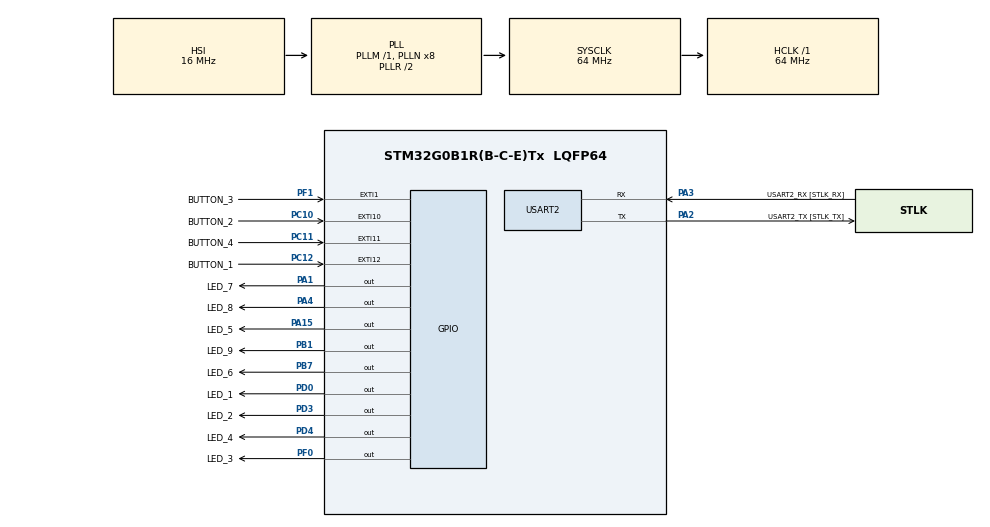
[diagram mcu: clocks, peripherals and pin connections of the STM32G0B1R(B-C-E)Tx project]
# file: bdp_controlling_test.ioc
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Mcu.Family=STM32G0
Mcu.Name=STM32G0B1R(B-C-E)Tx
Mcu.Package=LQFP64
NVIC.EXTI0_1_IRQn=true\:0\:0\:false\:false\:true\:true\:true\:true
NVIC.EXTI4_15_IRQn=true\:0\:0\:false\:false\:true\:true\:true\:true
NVIC.TIM2_IRQn=true\:0\:0\:false\:false\:true\:true\:true\:true
PA1.GPIO_Label=LED_7
PA1.Signal=GPIO_Output
PA13.Mode=Serial_Wire
PA13.Signal=SYS_SWDIO
PA14-BOOT0.Mode=Serial_Wire
PA14-BOOT0.Signal=SYS_SWCLK
PA15.GPIO_Label=LED_5
PA15.Signal=GPIO_Output
PA2.GPIO_Label=USART2_TX [STLK_TX]
PA2.Mode=Asynchronous
PA2.Signal=USART2_TX
PA3.GPIO_Label=USART2_RX [STLK_RX]
PA3.Mode=Asynchronous
PA3.Signal=USART2_RX
PA4.GPIO_Label=LED_8
PA4.Signal=GPIO_Output
PB1.GPIO_Label=LED_9
PB1.Signal=GPIO_Output
PB7.GPIO_Label=LED_6
PB7.Signal=GPIO_Output
PC10.GPIO_Label=BUTTON_2
PC10.GPIO_ModeDefaultEXTI=GPIO_MODE_IT_FALLING
PC10.Signal=GPXTI10
PC11.GPIO_Label=BUTTON_4
PC11.GPIO_ModeDefaultEXTI=GPIO_MODE_IT_FALLING
PC11.Signal=GPXTI11
PC12.GPIO_Label=BUTTON_1
PC12.GPIO_ModeDefaultEXTI=GPIO_MODE_IT_FALLING
PC12.Signal=GPXTI12
PD0.GPIO_Label=LED_1
PD0.Signal=GPIO_Output
PD3.GPIO_Label=LED_2
PD3.Signal=GPIO_Output
PD4.GPIO_Label=LED_4
PD4.Signal=GPIO_Output
PF0-OSC_IN\ (PF0).GPIO_Label=LED_3
PF0-OSC_IN\ (PF0).Signal=GPIO_Output
PF1-OSC_OUT\ (PF1).GPIO_Label=BUTTON_3
PF1-OSC_OUT\ (PF1).GPIO_ModeDefaultEXTI=GPIO_MODE_IT_FALLING
PF1-OSC_OUT\ (PF1).Signal=GPXTI1
ProjectManager.HeapSize=0x200
ProjectManager.StackSize=0x400
ProjectManager.TargetToolchain=STM32CubeIDE
RCC.ADCFreq_Value=64000000
RCC.AHBFreq_Value=64000000
RCC.CortexFreq_Value=64000000
RCC.EXTERNAL_CLOCK_VALUE=12288000
RCC.HCLKFreq_Value=64000000
RCC.HSE_VALUE=8000000
RCC.HSI48_VALUE=48000000
RCC.HSI_VALUE=16000000
RCC.LSE_VALUE=32768
RCC.SYSCLKFreq_VALUE=64000000
RCC.SYSCLKSource=RCC_SYSCLKSOURCE_PLLCLK
RCC.USBFreq_Value=48000000
RCC.VCOOutputFreq_Value=128000000
TIM2.Period=16000 - 1
TIM2.Prescaler=1000 - 1
USART2.VirtualMode-Asynchronous=VM_ASYNC
VP_SYS_VS_DBSignals.Mode=DisableDeadBatterySignals
VP_TIM2_VS_ClockSourceINT.Mode=Internal
board=NUCLEO-G0B1RE

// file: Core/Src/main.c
/* USER CODE BEGIN Header */
/**
  ******************************************************************************
  * @file           : main.c
  * @brief          : Main program body
  ******************************************************************************
  * @attention
  *
  * Copyright (c) 2025 STMicroelectronics.
  * All rights reserved.
  *
  * This software is licensed under terms that can be found in the LICENSE file
  * in the root directory of this software component.
  * If no LICENSE file comes with this software, it is provided AS-IS.
  *
  ******************************************************************************
  */
/* USER CODE END Header */
#include "main.h"

/* USER CODE BEGIN Includes */
#include <stdbool.h>
#include <stdlib.h>
#include <stdio.h>
/* USER CODE END Includes */

/* USER CODE BEGIN PD */
#define DEBOUNCE_MS 80

#define NUM_CARDS 52
#define NUM_SUITS 4
#define CARDS_PER_SUIT 13
/* USER CODE END PD */

TIM_HandleTypeDef htim2;

UART_HandleTypeDef huart2;

/* USER CODE BEGIN PV */
//static uint32_t last_press_time1 = 0;
//static uint32_t last_press_time2 = 0;
//static uint32_t last_press_time3 = 0;
//static uint32_t last_press_time4 = 0;

volatile bool b1_pressed = false;
volatile bool b2_pressed = false;
volatile bool b3_pressed = false;
volatile bool b4_pressed = false;

volatile bool dealing = false;

uint8_t deck[NUM_CARDS];
uint8_t card_index = 0;
/* USER CODE END PV */

void SystemClock_Config(void);
static void MX_GPIO_Init(void);
static void MX_USART2_UART_Init(void);
static void MX_TIM2_Init(void);
/* USER CODE BEGIN PFP */
void event_turn_on();
void event_deal();
/* USER CODE END PFP */

int main(void)
{

  /* MCU Configuration--------------------------------------------------------*/

  /* Reset of all peripherals, Initializes the Flash interface and the Systick. */
  HAL_Init();

  /* Configure the system clock */
  SystemClock_Config();

  /* Initialize all configured peripherals */
  MX_GPIO_Init();
  MX_USART2_UART_Init();
  MX_TIM2_Init();
  /* USER CODE BEGIN 2 */
  while(!b1_pressed) {
  }
  srand(HAL_GetTick());
  /* USER CODE END 2 */

  /* Infinite loop */
  while (1)
  {

    /* USER CODE BEGIN 3 */
	  bool main1 = true;
	  if (b1_pressed == true) {
		  b1_pressed = false;
		  event_turn_on();
	  }
  }
  /* USER CODE END 3 */
}

void SystemClock_Config(void)
{
  RCC_OscInitTypeDef RCC_OscInitStruct = {0};
  RCC_ClkInitTypeDef RCC_ClkInitStruct = {0};

  /** Configure the main internal regulator output voltage
  */
  HAL_PWREx_ControlVoltageScaling(PWR_REGULATOR_VOLTAGE_SCALE1);

  /** Initializes the RCC Oscillators according to the specified parameters
  * in the RCC_OscInitTypeDef structure.
  */
  RCC_OscInitStruct.OscillatorType = RCC_OSCILLATORTYPE_HSI;
  RCC_OscInitStruct.HSIState = RCC_HSI_ON;
  RCC_OscInitStruct.HSIDiv = RCC_HSI_DIV1;
  RCC_OscInitStruct.HSICalibrationValue = RCC_HSICALIBRATION_DEFAULT;
  RCC_OscInitStruct.PLL.PLLState = RCC_PLL_ON;
  RCC_OscInitStruct.PLL.PLLSource = RCC_PLLSOURCE_HSI;
  RCC_OscInitStruct.PLL.PLLM = RCC_PLLM_DIV1;
  RCC_OscInitStruct.PLL.PLLN = 8;
  RCC_OscInitStruct.PLL.PLLP = RCC_PLLP_DIV2;
  RCC_OscInitStruct.PLL.PLLQ = RCC_PLLQ_DIV2;
  RCC_OscInitStruct.PLL.PLLR = RCC_PLLR_DIV2;
  if (HAL_RCC_OscConfig(&RCC_OscInitStruct) != HAL_OK)
  {
    Error_Handler();
  }

  /** Initializes the CPU, AHB and APB buses clocks
  */
  RCC_ClkInitStruct.ClockType = RCC_CLOCKTYPE_HCLK|RCC_CLOCKTYPE_SYSCLK
                              |RCC_CLOCKTYPE_PCLK1;
  RCC_ClkInitStruct.SYSCLKSource = RCC_SYSCLKSOURCE_PLLCLK;
  RCC_ClkInitStruct.AHBCLKDivider = RCC_SYSCLK_DIV1;
  RCC_ClkInitStruct.APB1CLKDivider = RCC_HCLK_DIV1;

  if (HAL_RCC_ClockConfig(&RCC_ClkInitStruct, FLASH_LATENCY_2) != HAL_OK)
  {
    Error_Handler();
  }
}

static void MX_TIM2_Init(void)
{

  TIM_ClockConfigTypeDef sClockSourceConfig = {0};
  TIM_MasterConfigTypeDef sMasterConfig = {0};

  htim2.Instance = TIM2;
  htim2.Init.Prescaler = 1000 - 1;
  htim2.Init.CounterMode = TIM_COUNTERMODE_UP;
  htim2.Init.Period = 16000 - 1;
  htim2.Init.ClockDivision = TIM_CLOCKDIVISION_DIV1;
  htim2.Init.AutoReloadPreload = TIM_AUTORELOAD_PRELOAD_DISABLE;
  if (HAL_TIM_Base_Init(&htim2) != HAL_OK)
  {
    Error_Handler();
  }
  sClockSourceConfig.ClockSource = TIM_CLOCKSOURCE_INTERNAL;
  if (HAL_TIM_ConfigClockSource(&htim2, &sClockSourceConfig) != HAL_OK)
  {
    Error_Handler();
  }
  sMasterConfig.MasterOutputTrigger = TIM_TRGO_RESET;
  sMasterConfig.MasterSlaveMode = TIM_MASTERSLAVEMODE_DISABLE;
  if (HAL_TIMEx_MasterConfigSynchronization(&htim2, &sMasterConfig) != HAL_OK)
  {
    Error_Handler();
  }

}

static void MX_USART2_UART_Init(void)
{

  huart2.Instance = USART2;
  huart2.Init.BaudRate = 115200;
  huart2.Init.WordLength = UART_WORDLENGTH_8B;
  huart2.Init.StopBits = UART_STOPBITS_1;
  huart2.Init.Parity = UART_PARITY_NONE;
  huart2.Init.Mode = UART_MODE_TX_RX;
  huart2.Init.HwFlowCtl = UART_HWCONTROL_NONE;
  huart2.Init.OverSampling = UART_OVERSAMPLING_16;
  huart2.Init.OneBitSampling = UART_ONE_BIT_SAMPLE_DISABLE;
  huart2.Init.ClockPrescaler = UART_PRESCALER_DIV1;
  huart2.AdvancedInit.AdvFeatureInit = UART_ADVFEATURE_NO_INIT;
  if (HAL_UART_Init(&huart2) != HAL_OK)
  {
    Error_Handler();
  }
  if (HAL_UARTEx_SetTxFifoThreshold(&huart2, UART_TXFIFO_THRESHOLD_1_8) != HAL_OK)
  {
    Error_Handler();
  }
  if (HAL_UARTEx_SetRxFifoThreshold(&huart2, UART_RXFIFO_THRESHOLD_1_8) != HAL_OK)
  {
    Error_Handler();
  }
  if (HAL_UARTEx_DisableFifoMode(&huart2) != HAL_OK)
  {
    Error_Handler();
  }

}

static void MX_GPIO_Init(void)
{
  GPIO_InitTypeDef GPIO_InitStruct = {0};

  /* GPIO Ports Clock Enable */
  __HAL_RCC_GPIOC_CLK_ENABLE();
  __HAL_RCC_GPIOF_CLK_ENABLE();
  __HAL_RCC_GPIOA_CLK_ENABLE();
  __HAL_RCC_GPIOB_CLK_ENABLE();
  __HAL_RCC_GPIOD_CLK_ENABLE();

  /*Configure GPIO pin Output Level */
  HAL_GPIO_WritePin(LED_3_GPIO_Port, LED_3_Pin, GPIO_PIN_RESET);

  /*Configure GPIO pin Output Level */
  HAL_GPIO_WritePin(GPIOA, LED_7_Pin|LED_8_Pin|LED_5_Pin, GPIO_PIN_RESET);

  /*Configure GPIO pin Output Level */
  HAL_GPIO_WritePin(GPIOB, LED_9_Pin|LED_6_Pin, GPIO_PIN_RESET);

  /*Configure GPIO pin Output Level */
  HAL_GPIO_WritePin(GPIOD, LED_1_Pin|LED_2_Pin|LED_4_Pin, GPIO_PIN_RESET);

  /*Configure GPIO pins : BUTTON_4_Pin BUTTON_1_Pin BUTTON_2_Pin */
  GPIO_InitStruct.Pin = BUTTON_4_Pin|BUTTON_1_Pin|BUTTON_2_Pin;
  GPIO_InitStruct.Mode = GPIO_MODE_IT_FALLING;
  GPIO_InitStruct.Pull = GPIO_NOPULL;
  HAL_GPIO_Init(GPIOC, &GPIO_InitStruct);

  /*Configure GPIO pin : LED_3_Pin */
  GPIO_InitStruct.Pin = LED_3_Pin;
  GPIO_InitStruct.Mode = GPIO_MODE_OUTPUT_PP;
  GPIO_InitStruct.Pull = GPIO_NOPULL;
  GPIO_InitStruct.Speed = GPIO_SPEED_FREQ_LOW;
  HAL_GPIO_Init(LED_3_GPIO_Port, &GPIO_InitStruct);

  /*Configure GPIO pin : BUTTON_3_Pin */
  GPIO_InitStruct.Pin = BUTTON_3_Pin;
  GPIO_InitStruct.Mode = GPIO_MODE_IT_FALLING;
  GPIO_InitStruct.Pull = GPIO_NOPULL;
  HAL_GPIO_Init(BUTTON_3_GPIO_Port, &GPIO_InitStruct);

  /*Configure GPIO pins : LED_7_Pin LED_8_Pin LED_5_Pin */
  GPIO_InitStruct.Pin = LED_7_Pin|LED_8_Pin|LED_5_Pin;
  GPIO_InitStruct.Mode = GPIO_MODE_OUTPUT_PP;
  GPIO_InitStruct.Pull = GPIO_NOPULL;
  GPIO_InitStruct.Speed = GPIO_SPEED_FREQ_LOW;
  HAL_GPIO_Init(GPIOA, &GPIO_InitStruct);

  /*Configure GPIO pins : LED_9_Pin LED_6_Pin */
  GPIO_InitStruct.Pin = LED_9_Pin|LED_6_Pin;
  GPIO_InitStruct.Mode = GPIO_MODE_OUTPUT_PP;
  GPIO_InitStruct.Pull = GPIO_NOPULL;
  GPIO_InitStruct.Speed = GPIO_SPEED_FREQ_LOW;
  HAL_GPIO_Init(GPIOB, &GPIO_InitStruct);

  /*Configure GPIO pins : LED_1_Pin LED_2_Pin LED_4_Pin */
  GPIO_InitStruct.Pin = LED_1_Pin|LED_2_Pin|LED_4_Pin;
  GPIO_InitStruct.Mode = GPIO_MODE_OUTPUT_PP;
  GPIO_InitStruct.Pull = GPIO_NOPULL;
  GPIO_InitStruct.Speed = GPIO_SPEED_FREQ_LOW;
  HAL_GPIO_Init(GPIOD, &GPIO_InitStruct);

  /* EXTI interrupt init*/
  HAL_NVIC_SetPriority(EXTI0_1_IRQn, 0, 0);
  HAL_NVIC_EnableIRQ(EXTI0_1_IRQn);

  HAL_NVIC_SetPriority(EXTI4_15_IRQn, 0, 0);
  HAL_NVIC_EnableIRQ(EXTI4_15_IRQn);

}

/* USER CODE BEGIN 4 */
void event_turn_on() {
	bool event_turn_on1 = true;
	HAL_GPIO_WritePin(GPIOD, LED_2_Pin, GPIO_PIN_SET);

	uint8_t cursor_loc = 0;
	HAL_GPIO_WritePin(LED_3_GPIO_Port, LED_3_Pin, GPIO_PIN_SET);

	while (1) {
		if (b1_pressed == true) {  // on/off
			switch (cursor_loc) {
			case 0: HAL_GPIO_WritePin(LED_3_GPIO_Port, LED_3_Pin, GPIO_PIN_RESET);
					break;
			case 1: HAL_GPIO_WritePin(GPIOD, LED_4_Pin, GPIO_PIN_RESET);
					break;
			case 2: HAL_GPIO_WritePin(GPIOA, LED_5_Pin, GPIO_PIN_RESET);
					break;
			}
			HAL_GPIO_WritePin(GPIOD, LED_2_Pin, GPIO_PIN_RESET);
			b1_pressed = false;
			return;
		}
		if (b2_pressed == true) {  // move left
			b2_pressed = false;
			if (cursor_loc > 0) {
				cursor_loc--;

				switch (cursor_loc) {
				case 0: HAL_GPIO_WritePin(GPIOD, LED_4_Pin, GPIO_PIN_RESET);
						HAL_GPIO_WritePin(LED_3_GPIO_Port, LED_3_Pin, GPIO_PIN_SET);
						break;
				case 1: HAL_GPIO_WritePin(GPIOA, LED_5_Pin, GPIO_PIN_RESET);
						HAL_GPIO_WritePin(GPIOD, LED_4_Pin, GPIO_PIN_SET);
						break;
				}
			}
		}
		if (b3_pressed == true) {  // move right
			b3_pressed = false;
			if (cursor_loc < 2) {
				cursor_loc++;

				switch (cursor_loc) {
				case 1: HAL_GPIO_WritePin(LED_3_GPIO_Port, LED_3_Pin, GPIO_PIN_RESET);
						HAL_GPIO_WritePin(GPIOD, LED_4_Pin, GPIO_PIN_SET);
						break;
				case 2: HAL_GPIO_WritePin(GPIOD, LED_4_Pin, GPIO_PIN_RESET);
						HAL_GPIO_WritePin(GPIOA, LED_5_Pin, GPIO_PIN_SET);
						break;
				}
			}
		}
		if (b4_pressed == true) {  // select
			b4_pressed = false;
			card_index = 0;
			switch (cursor_loc) {
				case 0: event_deal();
			}
		}
	}
}

void event_deal() {
	for (uint8_t i = 0; i < NUM_SUITS; i++) {
		for (uint8_t j = 0; j < CARDS_PER_SUIT; j++) {
			deck[i*13 + j] = i;
		}
	}

	for (uint8_t i = NUM_CARDS - 1; i > 0; i--) {
		uint8_t l = rand() % (i + 1);

		uint8_t temp = deck[i];
		deck[i] = deck[l];
		deck[l] = temp;
	}

	dealing = true;
	HAL_TIM_Base_Start_IT(&htim2);

	while (dealing) {
		// wait
		__WFI();
	}
}

void HAL_TIM_PeriodElapsedCallback(TIM_HandleTypeDef *htim) {
	if (htim->Instance == TIM2) {
		if (card_index < 53) {
			if (card_index != 0) {
				switch (deck[card_index - 1]) {
				case 0: HAL_GPIO_WritePin(GPIOB, LED_6_Pin, GPIO_PIN_RESET); break;
				case 1: HAL_GPIO_WritePin(GPIOA, LED_7_Pin, GPIO_PIN_RESET); break;
				case 2: HAL_GPIO_WritePin(GPIOA, LED_8_Pin, GPIO_PIN_RESET); break;
				case 3: HAL_GPIO_WritePin(GPIOB, LED_9_Pin, GPIO_PIN_RESET); break;
				}
			}
			if (card_index != 52) {
				switch (deck[card_index]) {
				case 0: HAL_GPIO_WritePin(GPIOB, LED_6_Pin, GPIO_PIN_SET); break;
				case 1: HAL_GPIO_WritePin(GPIOA, LED_7_Pin, GPIO_PIN_SET); break;
				case 2: HAL_GPIO_WritePin(GPIOA, LED_8_Pin, GPIO_PIN_SET); break;
				case 3: HAL_GPIO_WritePin(GPIOB, LED_9_Pin, GPIO_PIN_SET); break;
				}
			}
			card_index++;
		} else {
			HAL_TIM_Base_Stop_IT(&htim2);
			dealing = false;
		}
	}
}

void HAL_GPIO_EXTI_Falling_Callback(uint16_t GPIO_Pin) {
	if (GPIO_Pin == BUTTON_1_Pin) {
		b1_pressed = true;
	}

	if (GPIO_Pin == BUTTON_2_Pin) {
		b2_pressed = true;
	}

	if (GPIO_Pin == BUTTON_3_Pin) {
		b3_pressed = true;
	}

	if (GPIO_Pin == BUTTON_4_Pin) {
		b4_pressed = true;
	}
}
/* USER CODE END 4 */

void Error_Handler(void)
{
  __disable_irq();
  while (1)
  {
  }
}
